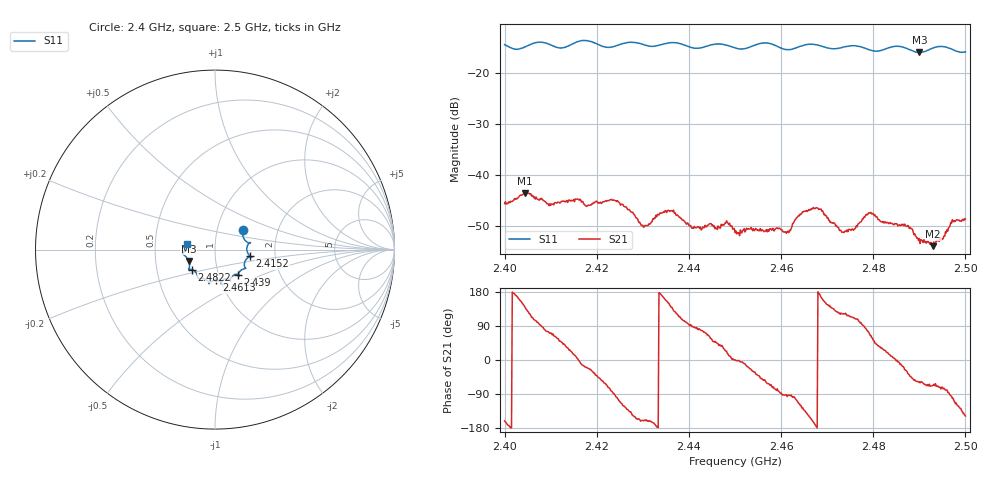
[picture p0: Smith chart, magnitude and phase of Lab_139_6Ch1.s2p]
# Hz S RI R 50
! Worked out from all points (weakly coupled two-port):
!   601 points, 2.4 GHz to 2.5 GHz, reference 50 ohm
!   highest |S21| = -43.49 dB at 2.4043 GHz (marker M1); lowest = -53.9 dB at 2.493 GHz (marker M2)
!   lowest |S11| = -15.9 dB at 2.49 GHz (marker M3), VSWR 1.38, Z = 36.9 - j4.83 ohm
!   |S11| at or under -10 dB: start of sweep to end of sweep
!   S12 and S22 are empty: the file has one direction only
!   S11 on the Smith chart (normalised r, x): 2.4 GHz: 1.33, +0.30; 2.4152 GHz: 1.48, -0.11; 2.439 GHz: 1.24, -0.36; 2.4613 GHz: 0.96, -0.34; 2.4822 GHz: 0.76, -0.17; 2.5 GHz: 0.72, +0.05
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2.4e9  0.1554 0.1104  -0.00498 -0.00173  0 0  0 0
2.404333e9  0.1749 0.0444  -0.00521 0.00419  0 0  0 0
2.409667e9  0.1893 0.0349  0.00153 0.00479  0 0  0 0
2.415167e9  0.1947 -0.036  0.00536 0.00123  0 0  0 0
2.416667e9  0.2045 -0.0419  0.00535 -0.00105  0 0  0 0
2.424167e9  0.1635 -0.0876  -0.000713 -0.00558  0 0  0 0
2.430167e9  0.1568 -0.1089  -0.0029 -0.00105  0 0  0 0
2.433333e9  0.1323 -0.1323  -0.00412 -9.55e-05  0 0  0 0
2.436167e9  0.1347 -0.1474  -0.0034 0.00294  0 0  0 0
2.439e9  0.1282 -0.139  -0.000815 0.00343  0 0  0 0
2.45e9  0.0683 -0.1637  0.00275 3.43e-05  0 0  0 0
2.461333e9  0.00756 -0.1701  -0.000308 -0.00278  0 0  0 0
2.466667e9  -0.0331 -0.1899  -0.00438 -0.00175  0 0  0 0
2.473167e9  -0.0787 -0.1603  -0.00148 0.00234  0 0  0 0
2.479e9  -0.1006 -0.1379  0.00116 0.00413  0 0  0 0
2.482167e9  -0.128 -0.1118  0.00301 0.00161  0 0  0 0
2.483333e9  -0.1392 -0.1103  0.00323 0.000923  0 0  0 0
2.488e9  -0.1418 -0.0926  0.00225 -0.0021  0 0  0 0
2.49e9  -0.1466 -0.0637  0.00129 -0.00201  0 0  0 0
2.493e9  -0.1748 -0.0278  0.000804 -0.00185  0 0  0 0
2.497333e9  -0.1697 -0.00826  -0.000678 -0.00344  0 0  0 0
2.5e9  -0.1587 0.0335  -0.00315 -0.00199  0 0  0 0
